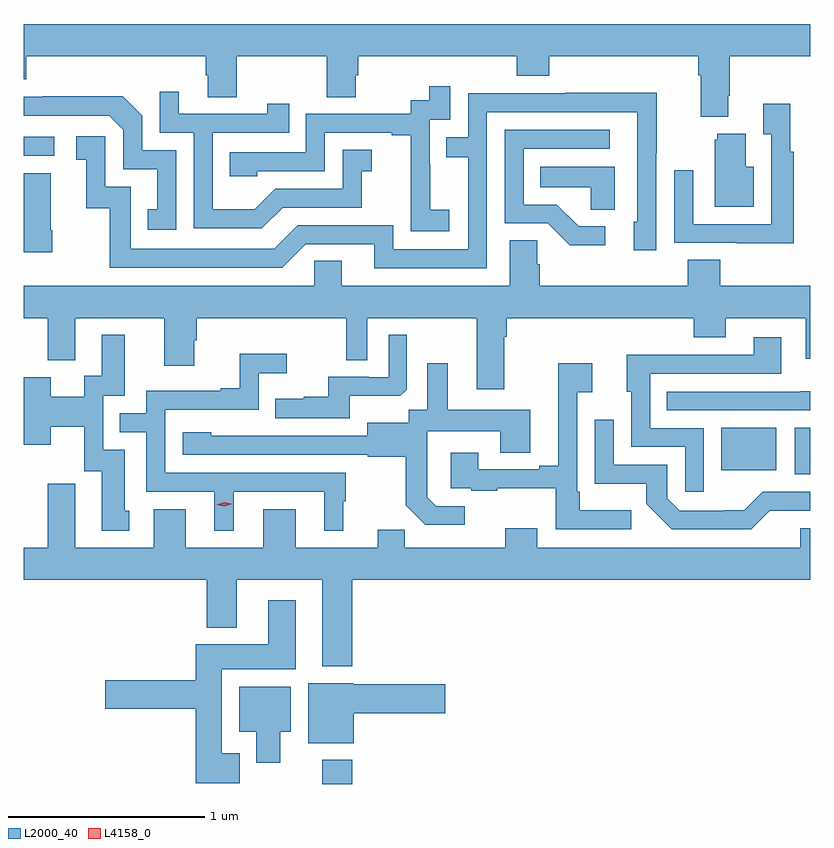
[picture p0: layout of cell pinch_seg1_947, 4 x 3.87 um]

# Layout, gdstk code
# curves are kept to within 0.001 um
import gdstk
lib = gdstk.Library(unit=1e-6, precision=1e-09)
def R(c, l, rs):  # rectangles x0, y0, x1, y1
    for r in rs: c.add(gdstk.rectangle(r[:2], r[2:], *l))
def P(c, l, *ps):  # polygons
    for p in ps: c.add(gdstk.Polygon(p, *l))
L2000_40 = (2000, 40)
L4158_0 = (4158, 0)

pinch_seg1_947 = lib.new_cell('pinch_seg1_947')
R(pinch_seg1_947, L2000_40, [(222.383,508.069,222.536,508.192), (224.786,509.645,224.865,509.881), (224.414,509.666,224.692,509.881), (220.865,511.266,221.02,511.362)])
P(pinch_seg1_947, L2000_40, [(220.865,511.655),(220.877,511.655),(220.877,511.772),(221.789,511.772),(221.789,511.674),(221.801,511.674),(221.801,511.564),(221.949,511.564),(221.949,511.772),(222.406,511.772),(222.406,511.564),(222.553,511.564),(222.553,511.674),(222.566,511.674),(222.566,511.772),(223.373,511.772),(223.373,511.673),(223.538,511.673),(223.538,511.772),(224.297,511.772),(224.297,511.676),(224.309,511.676),(224.309,511.463),(224.449,511.463),(224.449,511.57),(224.457,511.57),(224.457,511.772),(224.865,511.772),(224.865,511.936),(220.865,511.936)],
  [(223.03,510.991),(222.932,510.991),(222.932,511.22),(222.93,511.22),(222.93,511.449),(223.035,511.449),(223.035,511.618),(222.927,511.618),(222.927,511.548),(222.834,511.548),(222.834,511.479),(222.3,511.479),(222.3,511.284),(221.911,511.284),(221.911,511.161),(222.051,511.161),(222.051,511.188),(222.396,511.188),(222.396,511.383),(222.737,511.383),(222.737,511.371),(222.833,511.371),(222.833,511.087),(222.832,511.087),(222.832,510.881),(223.03,510.881)],
  [(222.181,511.002),(222.585,511.002),(222.585,511.187),(222.634,511.187),(222.634,511.297),(222.486,511.297),(222.486,511.098),(222.144,511.098),(222.04,510.994),(221.826,510.994),(221.826,511.383),(222.215,511.383),(222.215,511.531),(222.104,511.531),(222.104,511.479),(221.653,511.479),(221.653,511.591),(221.556,511.591),(221.556,511.383),(221.73,511.383),(221.73,510.897),(222.076,510.897)],
  [(223.221,511.488),(223.986,511.488),(223.986,510.93),(223.967,510.93),(223.967,510.786),(224.082,510.786),(224.082,511.279),(224.085,511.279),(224.085,511.586),(223.621,511.586),(223.621,511.584),(223.125,511.584),(223.125,511.359),(223.015,511.359),(223.015,511.258),(223.125,511.258),(223.125,510.789),(222.744,510.789),(222.744,510.912),(222.258,510.912),(222.138,510.792),(221.409,510.792),(221.409,511.107),(221.28,511.107),(221.28,511.366),(221.13,511.366),(221.13,511.245),(221.183,511.245),(221.183,510.999),(221.301,510.999),(221.301,510.696),(222.18,510.696),(222.3,510.816),(222.647,510.816),(222.647,510.693),(223.221,510.693)],
  [(221.64,511.293),(221.466,511.293),(221.466,511.47),(221.368,511.568),(220.96,511.568),(220.96,511.566),(220.865,511.566),(220.865,511.47),(221.298,511.47),(221.37,511.398),(221.37,511.197),(221.543,511.197),(221.543,510.993),(221.494,510.993),(221.494,510.888),(221.64,510.888)],
  [(224.783,511.286),(224.765,511.286),(224.765,511.531),(224.627,511.531),(224.627,511.375),(224.667,511.375),(224.667,510.918),(224.271,510.918),(224.271,511.192),(224.175,511.192),(224.175,510.822),(224.491,510.822),(224.491,510.821),(224.783,510.821)],
  [(223.822,510.906),(223.687,510.906),(223.576,511.017),(223.407,511.017),(223.407,511.302),(223.846,511.302),(223.846,511.398),(223.311,511.398),(223.311,510.921),(223.53,510.921),(223.643,510.809),(223.822,510.809)],
  [(224.578,511.21),(224.539,511.21),(224.539,511.378),(224.393,511.378),(224.393,511.347),(224.381,511.347),(224.381,511.007),(224.578,511.007)],
  [(223.87,511.21),(223.492,511.21),(223.492,511.106),(223.749,511.106),(223.749,510.991),(223.87,510.991)],
  [(221.01,510.886),(221.002,510.886),(221.002,511.177),(220.865,511.177),(220.865,510.774),(221.01,510.774)],
  [(223.309,510.344),(223.322,510.344),(223.322,510.44),(224.273,510.44),(224.273,510.341),(224.437,510.341),(224.437,510.44),(224.843,510.44),(224.843,510.234),(224.865,510.234),(224.865,510.604),(224.408,510.604),(224.408,510.737),(224.243,510.737),(224.243,510.604),(223.49,510.604),(223.49,510.713),(223.476,510.713),(223.476,510.836),(223.337,510.836),(223.337,510.604),(222.481,510.604),(222.481,510.731),(222.342,510.731),(222.342,510.604),(220.865,510.604),(220.865,510.44),(220.985,510.44),(220.985,510.224),(221.125,510.224),(221.125,510.44),(221.579,510.44),(221.579,510.198),(221.731,510.198),(221.731,510.327),(221.744,510.327),(221.744,510.44),(222.504,510.44),(222.504,510.226),(222.612,510.226),(222.612,510.44),(223.169,510.44),(223.169,510.078),(223.309,510.078)],
  [(221.401,509.46),(221.377,509.46),(221.377,509.769),(221.268,509.769),(221.268,510.045),(221.377,510.045),(221.377,510.355),(221.261,510.355),(221.261,510.146),(221.171,510.146),(221.171,510.04),(221.002,510.04),(221.002,510.139),(220.865,510.139),(220.865,509.795),(221.002,509.795),(221.002,509.888),(221.172,509.888),(221.172,509.661),(221.261,509.661),(221.261,509.358),(221.401,509.358)],
  [(222.523,510.044),(222.781,510.044),(222.813,510.075),(222.813,510.355),(222.72,510.355),(222.72,510.138),(222.62,510.138),(222.62,510.141),(222.413,510.141),(222.413,510.04),(222.289,510.04),(222.289,510.028),(222.145,510.028),(222.145,509.931),(222.523,509.931)],
  [(224.325,509.88),(224.052,509.88),(224.052,510.156),(224.719,510.156),(224.719,510.343),(224.579,510.343),(224.579,510.252),(224.149,510.252),(224.149,510.254),(223.931,510.254),(223.931,510.066),(223.956,510.066),(223.956,509.784),(224.229,509.784),(224.229,509.556),(224.325,509.556)],
  [(221.932,509.556),(222.392,509.556),(222.392,509.357),(222.49,509.357),(222.49,509.508),(222.502,509.508),(222.502,509.652),(221.583,509.652),(221.583,509.973),(222.06,509.973),(222.06,510.158),(222.202,510.158),(222.202,510.257),(221.962,510.257),(221.962,510.082),(221.867,510.082),(221.867,510.069),(221.487,510.069),(221.487,509.955),(221.353,509.955),(221.353,509.859),(221.487,509.859),(221.487,509.556),(221.834,509.556),(221.834,509.357),(221.932,509.357)],
  [(223.108,509.481),(222.963,509.481),(222.916,509.528),(222.916,509.623),(222.918,509.623),(222.918,509.864),(223.289,509.864),(223.289,509.755),(223.441,509.755),(223.441,509.974),(223.021,509.974),(223.021,510.211),(222.917,510.211),(222.917,509.972),(222.822,509.972),(222.822,509.908),(222.611,509.908),(222.611,509.841),(221.817,509.842),(221.817,509.86),(221.673,509.86),(221.673,509.745),(222.615,509.745),(222.615,509.733),(222.807,509.733),(222.807,509.487),(222.907,509.387),(223.108,509.387)],
  [(223.954,509.461),(223.693,509.461),(223.693,509.557),(223.68,509.557),(223.68,510.062),(223.756,510.062),(223.756,510.211),(223.583,510.211),(223.583,509.689),(223.487,509.689),(223.487,509.67),(223.177,509.67),(223.177,509.755),(223.037,509.755),(223.037,509.574),(223.141,509.574),(223.141,509.562),(223.273,509.562),(223.273,509.573),(223.572,509.573),(223.572,509.364),(223.954,509.364)],
  [(224.865,510.067),(224.815,510.067),(224.815,510.066),(224.137,510.066),(224.137,509.97),(224.865,509.97)],
  [(224.66,509.459),(224.865,509.459),(224.865,509.556),(224.625,509.556),(224.531,509.462),(224.426,509.462),(224.426,509.46),(224.202,509.46),(224.139,509.523),(224.139,509.694),(223.866,509.694),(223.866,509.923),(223.77,509.923),(223.77,509.597),(224.032,509.597),(224.032,509.495),(224.162,509.364),(224.565,509.364)],
  [(222.083,509.467),(222.083,509.272),(221.689,509.272),(221.689,509.467),(221.525,509.467),(221.525,509.272),(221.125,509.272),(221.125,509.596),(220.985,509.596),(220.985,509.272),(220.865,509.272),(220.865,509.108),(221.795,509.108),(221.795,508.865),(221.947,508.865),(221.947,509.108),(222.383,509.108),(222.383,508.667),(222.536,508.667),(222.536,509.108),(224.865,509.108),(224.865,509.37),(224.816,509.37),(224.816,509.272),(223.477,509.272),(223.477,509.371),(223.313,509.371),(223.313,509.272),(222.803,509.272),(222.803,509.363),(222.665,509.363),(222.665,509.272),(222.247,509.272),(222.247,509.467)],
  [(221.962,508.225),(221.872,508.225),(221.872,508.652),(222.247,508.652),(222.247,509.005),(222.107,509.005),(222.107,508.78),(221.738,508.78),(221.738,508.598),(221.28,508.598),(221.28,508.451),(221.738,508.451),(221.738,508.073),(221.962,508.073)],
  [(222.544,508.43),(223.009,508.43),(223.009,508.577),(222.54,508.577),(222.54,508.582),(222.311,508.582),(222.311,508.277),(222.544,508.277)],
  [(222.169,508.334),(222.223,508.334),(222.223,508.564),(221.96,508.564),(221.96,508.334),(222.047,508.334),(222.047,508.176),(222.169,508.176)])
P(pinch_seg1_947, L4158_0, [(221.883,509.482),(221.847,509.491),(221.847,509.491),(221.847,509.491),(221.883,509.502),(221.919,509.494),(221.919,509.493),(221.919,509.493)])

lib.write_gds('pinch_seg1_947.gds')
